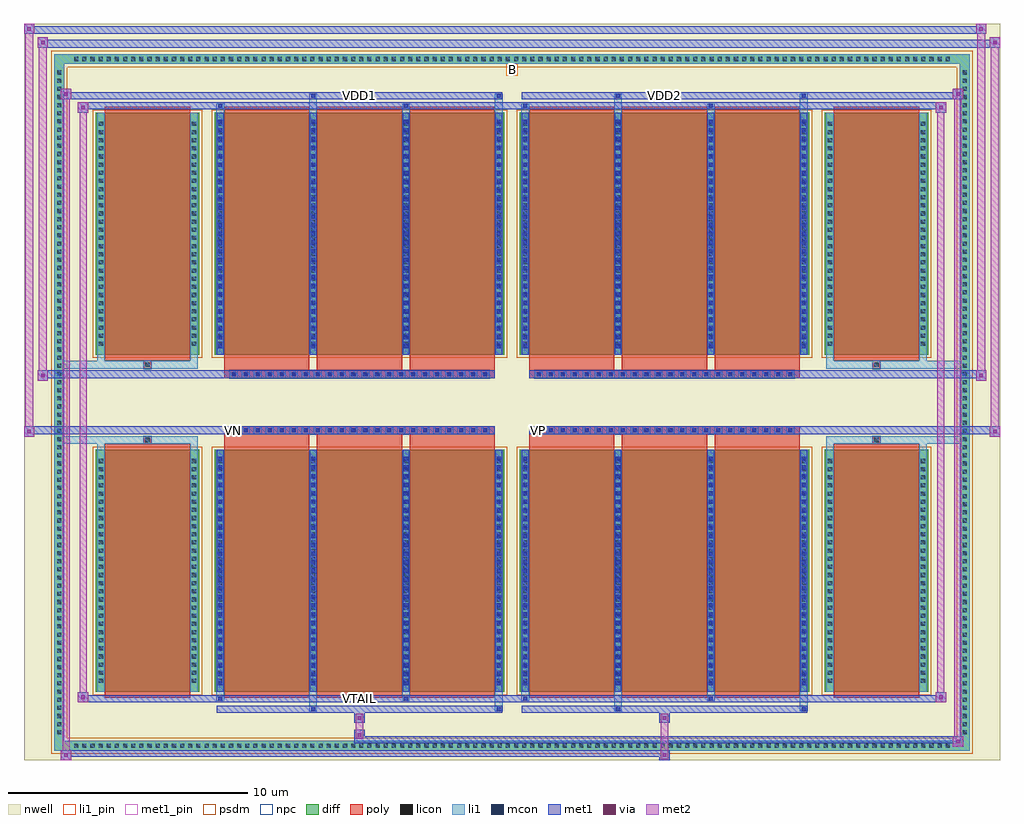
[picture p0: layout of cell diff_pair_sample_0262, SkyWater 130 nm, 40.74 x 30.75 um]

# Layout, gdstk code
import gdstk
lib = gdstk.Library(unit=1e-6, precision=5e-09)
def R(c, l, rs):  # rectangles x0, y0, x1, y1
    for r in rs: c.add(gdstk.rectangle(r[:2], r[2:], *l))
def A(c, l, x, y, w, h, nx, ny, dx, dy):  # array of equal rectangles
    R(c, l, [(x+i*dx, y+j*dy, x+i*dx+w, y+j*dy+h) for i in range(nx) for j in range(ny)])
def P(c, l, *ps):  # polygons
    for p in ps: c.add(gdstk.Polygon(p, *l))
nwell = (64, 20)
diff = (65, 20)
poly = (66, 20)
licon = (66, 44)
li1_pin = (67, 16)
li1 = (67, 20)
mcon = (67, 44)
met1_pin = (68, 16)
met1 = (68, 20)
via = (68, 44)
met2 = (69, 20)
psdm = (94, 20)
npc = (95, 20)

diff_pair_sample_0262 = lib.new_cell('diff_pair_sample_0262')
R(diff_pair_sample_0262, nwell, [(-20.37,-14.94,20.37,15.81), (-17.69,-13.13,-0.01,-0.805), (0.01,-13.13,17.69,-0.805), (-17.69,0.805,-0.01,13.13), (0.01,0.805,17.69,13.13)])
A(diff_pair_sample_0262, diff, -18.395, -14.54, 0.41, 0.41, 108, 2, 0.34, 28.67)
A(diff_pair_sample_0262, diff, -19.1, -13.975, 0.41, 0.41, 1, 82, 0, 0.34)
A(diff_pair_sample_0262, diff, 18.69, -13.975, 0.41, 0.41, 1, 82, 0, 0.34)
R(diff_pair_sample_0262, diff, [(-18.395,-14.54,18.395,-14.13), (-19.1,-13.975,-18.69,13.975), (18.69,-13.975,19.1,13.975), (-17.38,-12.085,-13.05,-1.985), (-12.41,-12.085,-0.32,-1.985), (0.32,-12.085,12.41,-1.985), (13.05,-12.085,17.38,-1.985), (-17.38,1.985,-13.05,12.085), (-12.41,1.985,-0.32,12.085), (0.32,1.985,12.41,12.085), (13.05,1.985,17.38,12.085), (-18.395,14.13,18.395,14.54)])
P(diff_pair_sample_0262, diff, [(19.1,14.54),(-19.1,14.54),(-19.1,-14.13),(-18.69,-14.13),(-18.69,14.13),(18.69,14.13),(18.69,-14.13),(-18.69,-14.13),(-19.1,-14.13),(-19.1,-14.54),(19.1,-14.54)])
A(diff_pair_sample_0262, poly, -12.02, -12.335, 3.55, 10.6, 3, 2, 3.88, 14.07)
A(diff_pair_sample_0262, poly, 0.71, -12.335, 3.55, 10.6, 3, 2, 3.88, 14.07)
A(diff_pair_sample_0262, poly, -12.02, -1.735, 3.55, 0.4, 3, 2, 3.88, 3.07)
A(diff_pair_sample_0262, poly, 0.71, -1.735, 3.55, 0.4, 3, 2, 3.88, 3.07)
A(diff_pair_sample_0262, poly, -11.78, -1.335, 0.33, 0.33, 22, 2, 0.5, 2.34)
A(diff_pair_sample_0262, poly, 0.95, -1.335, 0.33, 0.33, 22, 2, 0.5, 2.34)
R(diff_pair_sample_0262, poly, [(-16.99,-12.335,-13.44,-1.735), (13.44,-12.335,16.99,-1.735), (-15.38,-1.735,-15.05,-1.405), (-15.38,-1.735,-15.05,-1.405), (15.05,-1.735,15.38,-1.405), (15.05,-1.735,15.38,-1.405), (-12.02,-1.335,-0.71,-1.005), (0.71,-1.335,12.02,-1.005), (-12.02,1.005,-0.71,1.335), (0.71,1.005,12.02,1.335), (-15.38,1.405,-15.05,1.735), (-15.38,1.405,-15.05,1.735), (15.05,1.405,15.38,1.735), (15.05,1.405,15.38,1.735), (-16.99,1.735,-13.44,12.335), (13.44,1.735,16.99,12.335)])
A(diff_pair_sample_0262, licon, -18.275, -14.42, 0.17, 0.17, 108, 2, 0.34, 28.67)
A(diff_pair_sample_0262, licon, -18.98, -13.855, 0.17, 0.17, 1, 82, 0, 0.34)
A(diff_pair_sample_0262, licon, 18.81, -13.855, 0.17, 0.17, 1, 82, 0, 0.34)
A(diff_pair_sample_0262, licon, -17.24, -11.71, 0.17, 0.17, 1, 28, 0, 0.34)
A(diff_pair_sample_0262, licon, -13.36, -11.71, 0.17, 0.17, 1, 28, 0, 0.34)
A(diff_pair_sample_0262, licon, -12.27, -11.71, 0.17, 0.17, 4, 28, 3.88, 0.34)
A(diff_pair_sample_0262, licon, 0.46, -11.71, 0.17, 0.17, 4, 28, 3.88, 0.34)
A(diff_pair_sample_0262, licon, 13.19, -11.71, 0.17, 0.17, 1, 28, 0, 0.34)
A(diff_pair_sample_0262, licon, 17.07, -11.71, 0.17, 0.17, 1, 28, 0, 0.34)
A(diff_pair_sample_0262, licon, -11.7, -1.255, 0.17, 0.17, 22, 2, 0.5, 2.34)
A(diff_pair_sample_0262, licon, 1.03, -1.255, 0.17, 0.17, 22, 2, 0.5, 2.34)
A(diff_pair_sample_0262, licon, -17.24, 2.36, 0.17, 0.17, 1, 28, 0, 0.34)
A(diff_pair_sample_0262, licon, -13.36, 2.36, 0.17, 0.17, 1, 28, 0, 0.34)
A(diff_pair_sample_0262, licon, -12.27, 2.36, 0.17, 0.17, 4, 28, 3.88, 0.34)
A(diff_pair_sample_0262, licon, 0.46, 2.36, 0.17, 0.17, 4, 28, 3.88, 0.34)
A(diff_pair_sample_0262, licon, 13.19, 2.36, 0.17, 0.17, 1, 28, 0, 0.34)
A(diff_pair_sample_0262, licon, 17.07, 2.36, 0.17, 0.17, 1, 28, 0, 0.34)
R(diff_pair_sample_0262, licon, [(-15.3,-1.655,-15.13,-1.485), (15.13,-1.655,15.3,-1.485), (-15.3,1.485,-15.13,1.655), (15.13,1.485,15.3,1.655)])
R(diff_pair_sample_0262, li1_pin, [(-0.25,13.63,0.25,14.13)])
A(diff_pair_sample_0262, li1, -18.355, -14.5, 0.33, 0.33, 108, 2, 0.34, 28.67)
A(diff_pair_sample_0262, li1, -19.06, -13.935, 0.33, 0.33, 1, 82, 0, 0.34)
A(diff_pair_sample_0262, li1, 18.73, -13.935, 0.33, 0.33, 1, 82, 0, 0.34)
A(diff_pair_sample_0262, li1, -12.35, -12.085, 0.33, 10.1, 4, 2, 3.88, 14.07)
A(diff_pair_sample_0262, li1, 0.38, -12.085, 0.33, 10.1, 4, 2, 3.88, 14.07)
A(diff_pair_sample_0262, li1, -12.27, -11.8, 0.17, 0.17, 4, 27, 3.88, 0.36)
A(diff_pair_sample_0262, li1, -12.27, -11.8, 0.17, 9.53, 4, 2, 3.88, 14.07)
A(diff_pair_sample_0262, li1, 0.46, -11.8, 0.17, 0.17, 4, 27, 3.88, 0.36)
A(diff_pair_sample_0262, li1, 0.46, -11.8, 0.17, 9.53, 4, 2, 3.88, 14.07)
A(diff_pair_sample_0262, li1, -17.32, -11.79, 0.33, 0.33, 1, 28, 0, 0.34)
A(diff_pair_sample_0262, li1, -13.44, -11.79, 0.33, 0.33, 1, 28, 0, 0.34)
A(diff_pair_sample_0262, li1, -12.35, -11.79, 0.33, 0.33, 4, 28, 3.88, 0.34)
A(diff_pair_sample_0262, li1, 0.38, -11.79, 0.33, 0.33, 4, 28, 3.88, 0.34)
A(diff_pair_sample_0262, li1, 13.11, -11.79, 0.33, 0.33, 1, 28, 0, 0.34)
A(diff_pair_sample_0262, li1, 16.99, -11.79, 0.33, 0.33, 1, 28, 0, 0.34)
A(diff_pair_sample_0262, li1, -11.78, -1.335, 0.33, 0.33, 22, 2, 0.5, 2.34)
A(diff_pair_sample_0262, li1, 0.95, -1.335, 0.33, 0.33, 22, 2, 0.5, 2.34)
A(diff_pair_sample_0262, li1, -12.27, 2.27, 0.17, 0.17, 4, 27, 3.88, 0.36)
A(diff_pair_sample_0262, li1, 0.46, 2.27, 0.17, 0.17, 4, 27, 3.88, 0.36)
A(diff_pair_sample_0262, li1, -17.32, 2.28, 0.33, 0.33, 1, 28, 0, 0.34)
A(diff_pair_sample_0262, li1, -13.44, 2.28, 0.33, 0.33, 1, 28, 0, 0.34)
A(diff_pair_sample_0262, li1, -12.35, 2.28, 0.33, 0.33, 4, 28, 3.88, 0.34)
A(diff_pair_sample_0262, li1, 0.38, 2.28, 0.33, 0.33, 4, 28, 3.88, 0.34)
A(diff_pair_sample_0262, li1, 13.11, 2.28, 0.33, 0.33, 1, 28, 0, 0.34)
A(diff_pair_sample_0262, li1, 16.99, 2.28, 0.33, 0.33, 1, 28, 0, 0.34)
R(diff_pair_sample_0262, li1, [(-19.1,-14.54,-18.69,-14.13), (-19.1,-14.54,-18.69,-14.13), (-18.69,-14.54,18.69,-14.13), (18.69,-14.54,19.1,-14.13), (18.69,-14.54,19.1,-14.13), (-19.1,-14.13,-18.69,14.13), (18.69,-14.13,19.1,14.13), (-8.47,-12.89,-8.14,-12.085), (-8.39,-12.89,-8.22,-12.72), (-0.71,-12.89,-0.38,-12.085), (-0.63,-12.89,-0.46,-12.72), (4.26,-12.89,4.59,-12.085), (4.34,-12.89,4.51,-12.72), (12.02,-12.89,12.35,-12.085), (12.1,-12.89,12.27,-12.72), (-12.35,-12.46,-12.02,-12.085), (-12.27,-12.46,-12.1,-12.29), (-4.59,-12.46,-4.26,-12.085), (-4.51,-12.46,-4.34,-12.29), (0.38,-12.46,0.71,-12.085), (0.46,-12.46,0.63,-12.29), (8.14,-12.46,8.47,-12.085), (8.22,-12.46,8.39,-12.29), (-17.32,-12.085,-16.99,-1.985), (-13.44,-12.085,-13.11,-1.985), (13.11,-12.085,13.44,-1.985), (16.99,-12.085,17.32,-1.985), (-17.32,-1.985,-16.99,-1.405), (-13.44,-1.985,-13.11,-1.405), (13.11,-1.985,13.44,-1.405), (16.99,-1.985,17.32,-1.405), (-19.1,-1.735,-15.38,-1.405), (-17.32,-1.735,-15.38,-1.405), (-15.38,-1.735,-15.05,-1.405), (-15.05,-1.735,-13.11,-1.405), (13.11,-1.735,15.05,-1.405), (15.05,-1.735,15.38,-1.405), (15.05,-1.735,19.1,-1.405), (15.38,-1.735,17.32,-1.405), (-19.1,1.405,-15.38,1.735), (-17.32,1.405,-15.38,1.735), (-17.32,1.405,-16.99,1.985), (-15.38,1.405,-15.05,1.735), (-15.05,1.405,-13.11,1.735), (-13.44,1.405,-13.11,1.985), (13.11,1.405,15.05,1.735), (13.11,1.405,13.44,1.985), (15.05,1.405,15.38,1.735), (15.05,1.405,19.1,1.735), (15.38,1.405,17.32,1.735), (16.99,1.405,17.32,1.985), (-17.32,1.985,-16.99,12.085), (-13.44,1.985,-13.11,12.085), (13.11,1.985,13.44,12.085), (16.99,1.985,17.32,12.085), (-12.35,12.085,-12.02,12.46), (-8.47,12.085,-8.14,12.89), (-4.59,12.085,-4.26,12.46), (-0.71,12.085,-0.38,12.89), (0.38,12.085,0.71,12.46), (4.26,12.085,4.59,12.89), (8.14,12.085,8.47,12.46), (12.02,12.085,12.35,12.89), (-12.27,12.29,-12.1,12.46), (-4.51,12.29,-4.34,12.46), (0.46,12.29,0.63,12.46), (8.22,12.29,8.39,12.46), (-8.39,12.72,-8.22,12.89), (-0.63,12.72,-0.46,12.89), (4.34,12.72,4.51,12.89), (12.1,12.72,12.27,12.89), (-19.1,14.13,-18.69,14.54), (-19.1,14.13,-18.69,14.54), (-18.69,14.13,18.69,14.54), (18.69,14.13,19.1,14.54), (18.69,14.13,19.1,14.54)])
A(diff_pair_sample_0262, mcon, -12.27, -11.8, 0.17, 0.17, 4, 27, 3.88, 0.36)
A(diff_pair_sample_0262, mcon, 0.46, -11.8, 0.17, 0.17, 4, 27, 3.88, 0.36)
A(diff_pair_sample_0262, mcon, -11.7, -1.255, 0.17, 0.17, 22, 2, 0.5, 2.34)
A(diff_pair_sample_0262, mcon, 1.03, -1.255, 0.17, 0.17, 22, 2, 0.5, 2.34)
A(diff_pair_sample_0262, mcon, -12.27, 2.27, 0.17, 0.17, 4, 27, 3.88, 0.36)
A(diff_pair_sample_0262, mcon, 0.46, 2.27, 0.17, 0.17, 4, 27, 3.88, 0.36)
R(diff_pair_sample_0262, mcon, [(-8.39,-12.89,-8.22,-12.72), (-0.63,-12.89,-0.46,-12.72), (4.34,-12.89,4.51,-12.72), (12.1,-12.89,12.27,-12.72), (-12.27,-12.46,-12.1,-12.29), (-4.51,-12.46,-4.34,-12.29), (0.46,-12.46,0.63,-12.29), (8.22,-12.46,8.39,-12.29), (-12.27,12.29,-12.1,12.46), (-4.51,12.29,-4.34,12.46), (0.46,12.29,0.63,12.46), (8.22,12.29,8.39,12.46), (-8.39,12.72,-8.22,12.89), (-0.63,12.72,-0.46,12.89), (4.34,12.72,4.51,12.89), (12.1,12.72,12.27,12.89)])
R(diff_pair_sample_0262, met1_pin, [(-6.5,-12.5,-6.23,-12.23), (-11.75,-1.295,-11.48,-1.025), (0.98,-1.295,1.25,-1.025), (-6.5,12.68,-6.23,12.95), (6.23,12.68,6.5,12.95)])
A(diff_pair_sample_0262, met1, -12.33, -12.085, 0.29, 10.1, 4, 2, 3.88, 14.07)
A(diff_pair_sample_0262, met1, 0.4, -12.085, 0.29, 10.1, 4, 2, 3.88, 14.07)
A(diff_pair_sample_0262, met1, -12.33, -11.86, 0.29, 0.29, 4, 27, 3.88, 0.36)
A(diff_pair_sample_0262, met1, 0.4, -11.86, 0.29, 0.29, 4, 27, 3.88, 0.36)
A(diff_pair_sample_0262, met1, -11.76, -1.315, 0.29, 0.29, 22, 2, 0.5, 2.34)
A(diff_pair_sample_0262, met1, 0.97, -1.315, 0.29, 0.29, 22, 2, 0.5, 2.34)
A(diff_pair_sample_0262, met1, -12.33, 2.21, 0.29, 0.29, 4, 27, 3.88, 0.36)
A(diff_pair_sample_0262, met1, 0.4, 2.21, 0.29, 0.29, 4, 27, 3.88, 0.36)
R(diff_pair_sample_0262, met1, [(-18.83,-14.94,-18.4,-14.51), (6.15,-14.94,6.58,-14.51), (-18.83,-14.8,6.58,-14.51), (18.4,-14.37,18.83,-13.94), (-6.58,-14.23,18.83,-13.94), (-6.58,-14.09,-6.15,-13.66), (-6.58,-13.38,-6.15,-12.95), (6.15,-13.38,6.58,-12.95), (-12.33,-12.95,-0.4,-12.66), (-8.45,-12.95,-8.16,-12.66), (-0.69,-12.95,-0.4,-12.66), (0.4,-12.95,12.33,-12.66), (4.28,-12.95,4.57,-12.66), (12.04,-12.95,12.33,-12.66), (-18.12,-12.52,-17.69,-12.09), (-18.12,-12.52,-12.33,-12.23), (-12.33,-12.52,-12.04,-12.23), (-12.33,-12.52,-0.4,-12.23), (-4.57,-12.52,-4.28,-12.23), (-0.4,-12.52,0.4,-12.23), (0.4,-12.52,0.69,-12.23), (0.4,-12.52,12.33,-12.23), (8.16,-12.52,8.45,-12.23), (12.33,-12.52,18.12,-12.23), (17.69,-12.52,18.12,-12.09), (-20.37,-1.435,-19.94,-1.005), (19.94,-1.435,20.37,-1.005), (-20.37,-1.335,-0.71,-1.005), (-12.02,-1.335,-0.71,-1.005), (0.71,-1.335,12.02,-1.005), (0.71,-1.335,20.37,-1.005), (-19.8,0.905,-19.37,1.335), (19.37,0.905,19.8,1.335), (-19.8,1.005,-12.02,1.335), (-12.02,1.005,-0.71,1.335), (0.71,1.005,12.02,1.335), (12.02,1.005,19.8,1.335), (-18.12,12.09,-17.69,12.52), (17.69,12.09,18.12,12.52), (-18.12,12.23,-12.33,12.52), (-12.33,12.23,-12.04,12.52), (-12.33,12.23,-0.4,12.52), (-4.57,12.23,-4.28,12.52), (-0.4,12.23,0.4,12.52), (0.4,12.23,0.69,12.52), (0.4,12.23,12.33,12.52), (8.16,12.23,8.45,12.52), (12.33,12.23,18.12,12.52), (-18.83,12.66,-18.4,13.09), (-18.83,12.66,-12.33,12.95), (-12.33,12.66,-0.4,12.95), (-8.45,12.66,-8.16,12.95), (-0.69,12.66,-0.4,12.95), (0.4,12.66,12.33,12.95), (4.28,12.66,4.57,12.95), (12.04,12.66,12.33,12.95), (12.33,12.66,18.83,12.95), (18.4,12.66,18.83,13.09), (-19.8,14.81,-19.37,15.24), (-19.8,14.81,-17.69,15.14), (-17.69,14.81,17.69,15.14), (17.69,14.81,20.37,15.14), (19.94,14.81,20.37,15.24), (-20.37,15.38,-19.94,15.81), (-20.37,15.38,-17.69,15.71), (-17.69,15.38,17.69,15.71), (17.69,15.38,19.8,15.71), (19.37,15.38,19.8,15.81)])
R(diff_pair_sample_0262, via, [(-18.69,-14.8,-18.54,-14.65), (6.29,-14.8,6.44,-14.65), (18.54,-14.23,18.69,-14.08), (-6.44,-13.95,-6.29,-13.8), (-6.44,-13.24,-6.29,-13.09), (6.29,-13.24,6.44,-13.09), (-17.98,-12.38,-17.83,-12.23), (17.83,-12.38,17.98,-12.23), (-20.23,-1.295,-20.08,-1.145), (20.08,-1.295,20.23,-1.145), (-19.66,1.045,-19.51,1.195), (19.51,1.045,19.66,1.195), (-17.98,12.23,-17.83,12.38), (17.83,12.23,17.98,12.38), (-18.69,12.8,-18.54,12.95), (18.54,12.8,18.69,12.95), (-19.66,14.95,-19.51,15.1), (20.08,14.95,20.23,15.1), (-20.23,15.52,-20.08,15.67), (19.51,15.52,19.66,15.67)])
R(diff_pair_sample_0262, met2, [(-18.83,-14.94,-18.4,-14.51), (-18.76,-14.94,-18.47,13.09), (-18.47,-14.94,-18.4,-14.51), (-18.78,-14.89,-18.45,-14.56), (6.2,-14.89,6.53,-14.56), (6.2,-14.56,6.53,-13.33), (18.4,-14.37,18.83,-13.94), (18.47,-14.37,18.76,13.09), (18.76,-14.37,18.83,-13.94), (18.45,-14.32,18.78,-13.99), (-6.53,-14.04,-6.2,-13.71), (-6.53,-13.71,-6.2,-13.33), (-6.53,-13.33,-6.2,-13), (6.2,-13.33,6.53,-13), (-18.12,-12.52,-17.69,-12.09), (-18.05,-12.52,-17.76,12.52), (-17.76,-12.52,-17.69,-12.09), (17.69,-12.52,18.12,-12.09), (17.76,-12.52,18.05,12.52), (18.05,-12.52,18.12,-12.09), (-18.07,-12.47,-17.74,-12.14), (17.74,-12.47,18.07,-12.14), (-20.37,-1.435,-19.94,-1.005), (-20.32,-1.435,-19.99,15.81), (-19.99,-1.435,-19.94,-1.005), (19.94,-1.435,20.37,-1.005), (19.99,-1.435,20.32,15.24), (20.32,-1.435,20.37,-1.005), (-20.32,-1.385,-19.99,-1.055), (19.99,-1.385,20.32,-1.055), (-19.8,0.905,-19.37,1.335), (-19.75,0.905,-19.42,15.24), (-19.42,0.905,-19.37,1.335), (19.37,0.905,19.8,1.335), (19.42,0.905,19.75,15.81), (19.75,0.905,19.8,1.335), (-19.75,0.955,-19.42,1.285), (19.42,0.955,19.75,1.285), (-18.12,12.09,-17.69,12.52), (-17.76,12.09,-17.69,12.52), (17.69,12.09,18.12,12.52), (18.05,12.09,18.12,12.52), (-18.07,12.14,-17.74,12.47), (17.74,12.14,18.07,12.47), (-18.83,12.66,-18.4,13.09), (-18.47,12.66,-18.4,13.09), (18.4,12.66,18.83,13.09), (18.76,12.66,18.83,13.09), (-18.78,12.71,-18.45,13.04), (18.45,12.71,18.78,13.04), (-19.8,14.81,-19.37,15.24), (-19.42,14.81,-19.37,15.24), (19.94,14.81,20.37,15.24), (20.32,14.81,20.37,15.24), (-19.75,14.86,-19.42,15.19), (19.99,14.86,20.32,15.19), (-20.37,15.38,-19.94,15.81), (-19.99,15.38,-19.94,15.81), (19.37,15.38,19.8,15.81), (19.75,15.38,19.8,15.81), (-20.32,15.43,-19.99,15.76), (19.42,15.43,19.75,15.76)])
R(diff_pair_sample_0262, psdm, [(-17.51,-12.215,-12.92,-1.855), (-12.54,-12.215,-0.19,-1.855), (0.19,-12.215,12.54,-1.855), (12.92,-12.215,17.51,-1.855), (-17.51,1.855,-12.92,12.215), (-12.54,1.855,-0.19,12.215), (0.19,1.855,12.54,12.215), (12.92,1.855,17.51,12.215)])
P(diff_pair_sample_0262, psdm, [(19.23,14.67),(-19.23,14.67),(-19.23,-14),(-18.56,-14),(-18.56,14),(18.56,14),(18.56,-14),(-18.56,-14),(-19.23,-14),(-19.23,-14.67),(19.23,-14.67)])
A(diff_pair_sample_0262, npc, -11.8, -1.355, 0.37, 0.37, 22, 2, 0.5, 2.34)
A(diff_pair_sample_0262, npc, 0.93, -1.355, 0.37, 0.37, 22, 2, 0.5, 2.34)
R(diff_pair_sample_0262, npc, [(-15.4,-1.755,-15.03,-1.385), (15.03,-1.755,15.4,-1.385), (-11.8,-1.355,-10.93,-0.985), (-11.8,-1.355,-10.93,-0.985), (-11.3,-1.355,-10.43,-0.985), (-11.3,-1.355,-10.43,-0.985), (-10.8,-1.355,-9.93,-0.985), (-10.8,-1.355,-9.93,-0.985), (-10.3,-1.355,-9.43,-0.985), (-10.3,-1.355,-9.43,-0.985), (-9.8,-1.355,-8.93,-0.985), (-9.8,-1.355,-8.93,-0.985), (-9.3,-1.355,-8.43,-0.985), (-9.3,-1.355,-8.43,-0.985), (-8.8,-1.355,-7.93,-0.985), (-8.8,-1.355,-7.93,-0.985), (-8.3,-1.355,-7.43,-0.985), (-8.3,-1.355,-7.43,-0.985), (-7.8,-1.355,-6.93,-0.985), (-7.8,-1.355,-6.93,-0.985), (-7.3,-1.355,-6.43,-0.985), (-7.3,-1.355,-6.43,-0.985), (-6.8,-1.355,-5.93,-0.985), (-6.8,-1.355,-5.93,-0.985), (-6.3,-1.355,-5.43,-0.985), (-6.3,-1.355,-5.43,-0.985), (-5.8,-1.355,-4.93,-0.985), (-5.8,-1.355,-4.93,-0.985), (-5.3,-1.355,-4.43,-0.985), (-5.3,-1.355,-4.43,-0.985), (-4.8,-1.355,-3.93,-0.985), (-4.8,-1.355,-3.93,-0.985), (-4.3,-1.355,-3.43,-0.985), (-4.3,-1.355,-3.43,-0.985), (-3.8,-1.355,-2.93,-0.985), (-3.8,-1.355,-2.93,-0.985), (-3.3,-1.355,-2.43,-0.985), (-3.3,-1.355,-2.43,-0.985), (-2.8,-1.355,-1.93,-0.985), (-2.8,-1.355,-1.93,-0.985), (-2.3,-1.355,-1.43,-0.985), (-2.3,-1.355,-1.43,-0.985), (-1.8,-1.355,-0.93,-0.985), (-1.8,-1.355,-0.93,-0.985), (0.93,-1.355,1.8,-0.985), (0.93,-1.355,1.8,-0.985), (1.43,-1.355,2.3,-0.985), (1.43,-1.355,2.3,-0.985), (1.93,-1.355,2.8,-0.985), (1.93,-1.355,2.8,-0.985), (2.43,-1.355,3.3,-0.985), (2.43,-1.355,3.3,-0.985), (2.93,-1.355,3.8,-0.985), (2.93,-1.355,3.8,-0.985), (3.43,-1.355,4.3,-0.985), (3.43,-1.355,4.3,-0.985), (3.93,-1.355,4.8,-0.985), (3.93,-1.355,4.8,-0.985), (4.43,-1.355,5.3,-0.985), (4.43,-1.355,5.3,-0.985), (4.93,-1.355,5.8,-0.985), (4.93,-1.355,5.8,-0.985), (5.43,-1.355,6.3,-0.985), (5.43,-1.355,6.3,-0.985), (5.93,-1.355,6.8,-0.985), (5.93,-1.355,6.8,-0.985), (6.43,-1.355,7.3,-0.985), (6.43,-1.355,7.3,-0.985), (6.93,-1.355,7.8,-0.985), (6.93,-1.355,7.8,-0.985), (7.43,-1.355,8.3,-0.985), (7.43,-1.355,8.3,-0.985), (7.93,-1.355,8.8,-0.985), (7.93,-1.355,8.8,-0.985), (8.43,-1.355,9.3,-0.985), (8.43,-1.355,9.3,-0.985), (8.93,-1.355,9.8,-0.985), (8.93,-1.355,9.8,-0.985), (9.43,-1.355,10.3,-0.985), (9.43,-1.355,10.3,-0.985), (9.93,-1.355,10.8,-0.985), (9.93,-1.355,10.8,-0.985), (10.43,-1.355,11.3,-0.985), (10.43,-1.355,11.3,-0.985), (10.93,-1.355,11.8,-0.985), (10.93,-1.355,11.8,-0.985), (-11.8,0.985,-10.93,1.355), (-11.8,0.985,-10.93,1.355), (-11.3,0.985,-10.43,1.355), (-11.3,0.985,-10.43,1.355), (-10.8,0.985,-9.93,1.355), (-10.8,0.985,-9.93,1.355), (-10.3,0.985,-9.43,1.355), (-10.3,0.985,-9.43,1.355), (-9.8,0.985,-8.93,1.355), (-9.8,0.985,-8.93,1.355), (-9.3,0.985,-8.43,1.355), (-9.3,0.985,-8.43,1.355), (-8.8,0.985,-7.93,1.355), (-8.8,0.985,-7.93,1.355), (-8.3,0.985,-7.43,1.355), (-8.3,0.985,-7.43,1.355), (-7.8,0.985,-6.93,1.355), (-7.8,0.985,-6.93,1.355), (-7.3,0.985,-6.43,1.355), (-7.3,0.985,-6.43,1.355), (-6.8,0.985,-5.93,1.355), (-6.8,0.985,-5.93,1.355), (-6.3,0.985,-5.43,1.355), (-6.3,0.985,-5.43,1.355), (-5.8,0.985,-4.93,1.355), (-5.8,0.985,-4.93,1.355), (-5.3,0.985,-4.43,1.355), (-5.3,0.985,-4.43,1.355), (-4.8,0.985,-3.93,1.355), (-4.8,0.985,-3.93,1.355), (-4.3,0.985,-3.43,1.355), (-4.3,0.985,-3.43,1.355), (-3.8,0.985,-2.93,1.355), (-3.8,0.985,-2.93,1.355), (-3.3,0.985,-2.43,1.355), (-3.3,0.985,-2.43,1.355), (-2.8,0.985,-1.93,1.355), (-2.8,0.985,-1.93,1.355), (-2.3,0.985,-1.43,1.355), (-2.3,0.985,-1.43,1.355), (-1.8,0.985,-0.93,1.355), (-1.8,0.985,-0.93,1.355), (0.93,0.985,1.8,1.355), (0.93,0.985,1.8,1.355), (1.43,0.985,2.3,1.355), (1.43,0.985,2.3,1.355), (1.93,0.985,2.8,1.355), (1.93,0.985,2.8,1.355), (2.43,0.985,3.3,1.355), (2.43,0.985,3.3,1.355), (2.93,0.985,3.8,1.355), (2.93,0.985,3.8,1.355), (3.43,0.985,4.3,1.355), (3.43,0.985,4.3,1.355), (3.93,0.985,4.8,1.355), (3.93,0.985,4.8,1.355), (4.43,0.985,5.3,1.355), (4.43,0.985,5.3,1.355), (4.93,0.985,5.8,1.355), (4.93,0.985,5.8,1.355), (5.43,0.985,6.3,1.355), (5.43,0.985,6.3,1.355), (5.93,0.985,6.8,1.355), (5.93,0.985,6.8,1.355), (6.43,0.985,7.3,1.355), (6.43,0.985,7.3,1.355), (6.93,0.985,7.8,1.355), (6.93,0.985,7.8,1.355), (7.43,0.985,8.3,1.355), (7.43,0.985,8.3,1.355), (7.93,0.985,8.8,1.355), (7.93,0.985,8.8,1.355), (8.43,0.985,9.3,1.355), (8.43,0.985,9.3,1.355), (8.93,0.985,9.8,1.355), (8.93,0.985,9.8,1.355), (9.43,0.985,10.3,1.355), (9.43,0.985,10.3,1.355), (9.93,0.985,10.8,1.355), (9.93,0.985,10.8,1.355), (10.43,0.985,11.3,1.355), (10.43,0.985,11.3,1.355), (10.93,0.985,11.8,1.355), (10.93,0.985,11.8,1.355), (-15.4,1.385,-15.03,1.755), (15.03,1.385,15.4,1.755)])
diff_pair_sample_0262.add(gdstk.Label('VTAIL', (-6.365,-12.365), layer=68, texttype=5))
diff_pair_sample_0262.add(gdstk.Label('VN', (-11.615,-1.16), layer=68, texttype=5))
diff_pair_sample_0262.add(gdstk.Label('VP', (1.115,-1.16), layer=68, texttype=5))
diff_pair_sample_0262.add(gdstk.Label('B', (0,13.88), layer=67, texttype=5))
diff_pair_sample_0262.add(gdstk.Label('VDD2', (6.365,12.815), layer=68, texttype=5))
diff_pair_sample_0262.add(gdstk.Label('VDD1', (-6.365,12.815), layer=68, texttype=5))

lib.write_gds('diff_pair_sample_0262.gds')
